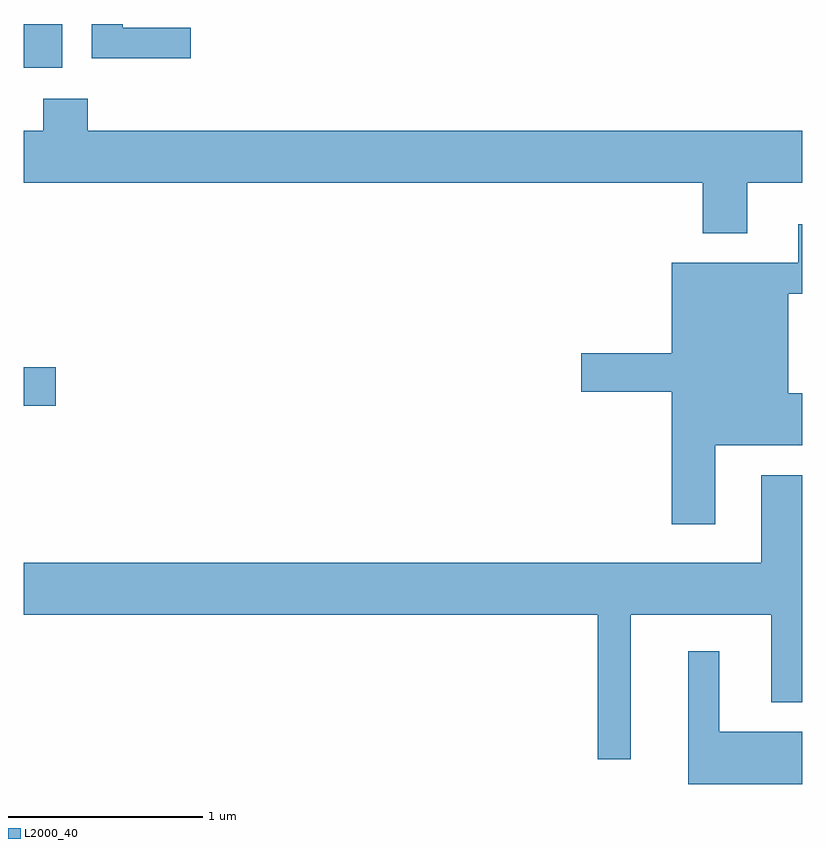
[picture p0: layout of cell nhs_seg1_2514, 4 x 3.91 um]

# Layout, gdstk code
import gdstk
lib = gdstk.Library(unit=1e-6, precision=1e-09)
def R(c, l, rs):  # rectangles x0, y0, x1, y1
    for r in rs: c.add(gdstk.rectangle(r[:2], r[2:], *l))
def P(c, l, *ps):  # polygons
    for p in ps: c.add(gdstk.Polygon(p, *l))
L2000_40 = (2000, 40)

nhs_seg1_2514 = lib.new_cell('nhs_seg1_2514')
R(nhs_seg1_2514, L2000_40, [(261.611,911.751,261.774,911.949), (261.611,913.486,261.809,913.712)])
P(nhs_seg1_2514, L2000_40, [(262.468,913.694),(262.119,913.694),(262.119,913.712),(261.961,913.712),(261.961,913.536),(262.468,913.536)],
  [(261.711,913.329),(261.711,913.164),(261.611,913.164),(261.611,912.896),(265.101,912.896),(265.101,912.636),(265.329,912.636),(265.329,912.896),(265.611,912.896),(265.611,913.164),(261.939,913.164),(261.939,913.329)],
  [(265.164,911.546),(265.611,911.546),(265.611,911.814),(265.539,911.814),(265.539,912.326),(265.611,912.326),(265.611,912.684),(265.591,912.684),(265.591,912.484),(264.941,912.484),(264.941,912.019),(264.476,912.019),(264.476,911.821),(264.941,911.821),(264.941,911.141),(265.164,911.141)],
  [(264.729,910.676),(265.451,910.676),(265.451,910.226),(265.611,910.226),(265.611,911.394),(265.401,911.394),(265.401,910.944),(261.611,910.944),(261.611,910.676),(264.561,910.676),(264.561,909.933),(264.729,909.933)],
  [(265.611,910.074),(265.184,910.074),(265.184,910.488),(265.026,910.488),(265.026,909.806),(265.611,909.806)])

lib.write_gds('nhs_seg1_2514.gds')
